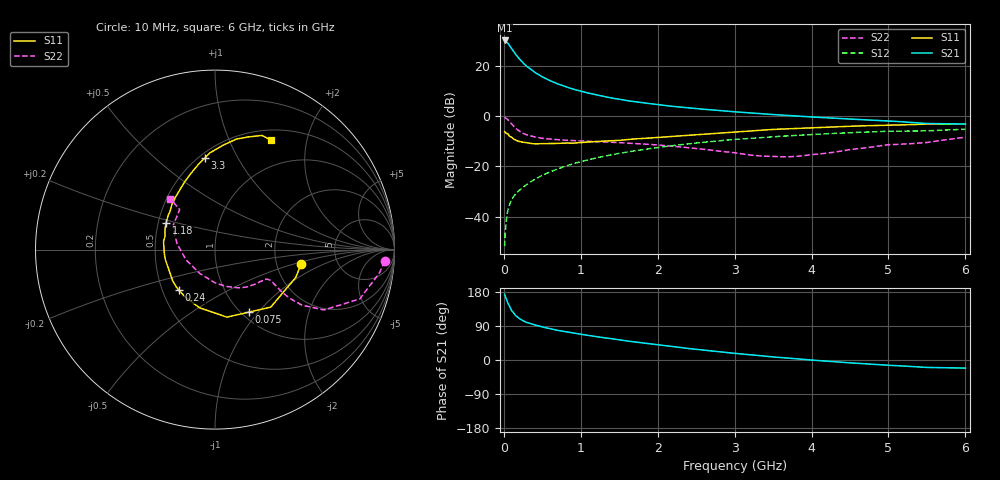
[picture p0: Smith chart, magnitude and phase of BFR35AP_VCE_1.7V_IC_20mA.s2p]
! Infineon Technologies  Discrete & RF Semiconductors
! BFR35AP
! VCE =  1.7 V,  IC =  20 mA
! Common Emitter S-Parameters:  Nov 2015
# GHz  S  MA  R  50
!  f  S11  S21  S12  S22
! GHz  MAG  ANG  MAG  ANG  MAG  ANG  MAG  ANG
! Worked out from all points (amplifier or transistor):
!   210 points, 10 MHz to 6 GHz, reference 50 ohm
!   highest |S21| = 30.0 dB at 10 MHz (marker M1)
!   |S21| within 3 dB of that: start of sweep to 95.98 MHz
!   unconditionally stable (mu >= 1): 315 MHz to 4.331 GHz; 5.081 GHz to end of sweep
!   at 185 MHz: K = 0.80, MSG = 26.7 dB, |S12| = -30.0 dB
!   at 1.52 GHz: K = 1.15, MAG = 8.3 dB, |S12| = -14.8 dB
!   at 6 GHz: K = 1.01, MAG = 0.4 dB, |S12| = -5.3 dB
!   S11 on the Smith chart (normalised r, x): 10 MHz: 2.75, -0.59; 75 MHz: 1.08, -0.89; 240 MHz: 0.61, -0.30; 1.18 GHz: 0.55, +0.18; 3.3 GHz: 0.53, +0.75; 6 GHz: 0.63, +1.44
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0.01  0.4862 -9.7  31.52 173.6  0.0026 83.3  0.947 -3.9
0.02  0.4757 -19.1  31.04 167.2  0.0052 81.6  0.9251 -8.1
0.05  0.4464 -45.9  28.25 150.6  0.013 73.9  0.8525 -18.8
0.075  0.3962 -61.6  24.71 141.9  0.0173 69.4  0.7701 -23.4
0.1  0.3821 -80.0  21.93 130.6  0.0217 66.7  0.6937 -29.0
0.15  0.3353 -104.9  16.97 117.5  0.0279 64.3  0.5735 -32.6
0.2  0.3124 -121.6  13.66 109.4  0.0332 64.7  0.5001 -33.1
0.24  0.3029 -131.7  11.73 104.8  0.0374 65.0  0.4615 -32.7
0.3  0.2927 -143.8  9.58 98.9  0.0437 66.9  0.4195 -31.7
0.4  0.2799 -158.0  7.37 92.5  0.055 68.0  0.3816 -30.1
0.5  0.2822 -168.7  5.956 87.0  0.066 68.8  0.3593 -29.3
0.7  0.2856 176.4  4.332 78.3  0.0887 69.1  0.3378 -29.4
0.8  0.2903 170.8  3.805 74.6  0.1005 68.2  0.3301 -30.0
1.02  0.2986 158.9  3.046 67.4  0.126 67.1  0.3183 -32.5
1.18  0.3103 151.4  2.671 62.3  0.1443 65.6  0.3095 -34.9
1.6  0.3392 136.2  2.015 50.2  0.1918 60.9  0.2887 -42.9
2.02  0.3747 123.8  1.662 39.7  0.2382 55.8  0.2635 -52.9
3.1  0.4917 99.6  1.178 15.7  0.3502 41.0  0.176 -95.2
3.3  0.5151 96.1  1.119 12.0  0.3682 38.1  0.162 -108.2
4.1  0.5923 84.0  0.936 -1.7  0.4362 27.0  0.1756 -167.0
5.1  0.6608 72.3  0.779 -14.9  0.4982 12.7  0.2719 146.6
6  0.6846 63.0  0.69 -21.4  0.5458 2.6  0.3776 131.2
